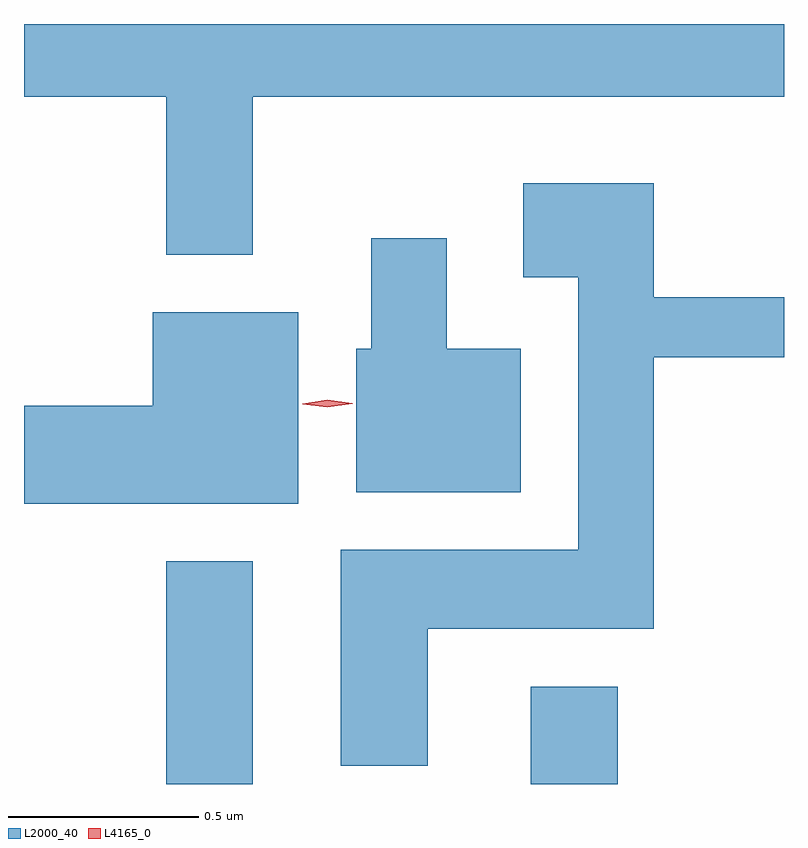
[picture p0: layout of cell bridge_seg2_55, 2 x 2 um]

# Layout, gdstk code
import gdstk
lib = gdstk.Library(unit=1e-6, precision=1e-09)
def R(c, l, rs):  # rectangles x0, y0, x1, y1
    for r in rs: c.add(gdstk.rectangle(r[:2], r[2:], *l))
def P(c, l, *ps):  # polygons
    for p in ps: c.add(gdstk.Polygon(p, *l))
L2000_40 = (2000, 40)
L4165_0 = (4165, 0)

bridge_seg2_55 = lib.new_cell('bridge_seg2_55')
R(bridge_seg2_55, L2000_40, [(1291.651,1066.488,1291.879,1067.074), (1292.611,1066.488,1292.839,1066.744)])
P(bridge_seg2_55, L2000_40, [(1291.879,1068.296),(1293.277,1068.296),(1293.277,1068.488),(1291.277,1068.488),(1291.277,1068.296),(1291.651,1068.296),(1291.651,1067.881),(1291.879,1067.881)],
  [(1292.339,1066.896),(1292.934,1066.896),(1292.934,1067.611),(1293.277,1067.611),(1293.277,1067.769),(1292.934,1067.769),(1292.934,1068.069),(1292.591,1068.069),(1292.591,1067.821),(1292.736,1067.821),(1292.736,1067.104),(1292.111,1067.104),(1292.111,1066.536),(1292.339,1066.536)],
  [(1292.584,1067.634),(1292.389,1067.634),(1292.389,1067.924),(1292.191,1067.924),(1292.191,1067.634),(1292.151,1067.634),(1292.151,1067.256),(1292.584,1067.256)],
  [(1291.999,1067.729),(1291.616,1067.729),(1291.616,1067.484),(1291.277,1067.484),(1291.277,1067.226),(1291.999,1067.226)])
P(bridge_seg2_55, L4165_0, [(1292.075,1067.479),(1292.01,1067.488),(1292.009,1067.489),(1292.01,1067.489),(1292.075,1067.499),(1292.141,1067.49),(1292.142,1067.489),(1292.141,1067.489)])

lib.write_gds('bridge_seg2_55.gds')
